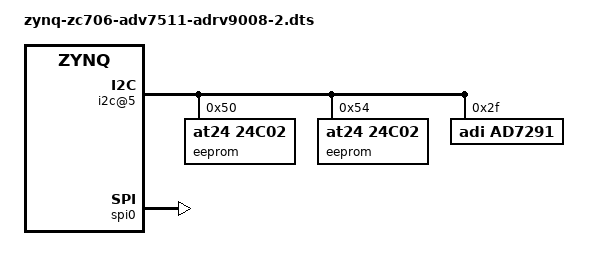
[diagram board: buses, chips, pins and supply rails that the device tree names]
// SPDX-License-Identifier: GPL-2.0
/*
 * Analog Devices ADRV9008-2
 * https://wiki.analog.com/resources/eval/user-guides/adrv9009
 * https://wiki.analog.com/resources/tools-software/linux-drivers/iio-transceiver/adrv9009
 * https://wiki.analog.com/resources/tools-software/linux-software/adrv9009_advanced_plugin
 *
 * hdl_project: <adrv9009/zc706>
 * board_revision: <>
 *
 * Copyright (C) 2019 Analog Devices Inc.
 */
/dts-v1/;

#include "zynq-zc706.dtsi"
#include "zynq-zc706-adv7511.dtsi"

&i2c_mux {
	i2c@5 { /* HPC IIC */
		#address-cells = <1>;
		#size-cells = <0>;
		reg = <5>;

		eeprom@50 {
			compatible = "at24,24c02";
			reg = <0x50>;
		};

		eeprom@54 {
			compatible = "at24,24c02";
			reg = <0x54>;
		};

		ad7291@2f {
			compatible = "adi,ad7291";
			reg = <0x2f>;
		};
	};
};

&fpga_axi {
	rx_obs_dma: dma@7c440000 {
		compatible = "adi,axi-dmac-1.00.a";
		reg = <0x7c440000 0x10000>;
		#dma-cells = <1>;
		#clock-cells = <0>;
		interrupts = <0 55 IRQ_TYPE_LEVEL_HIGH>;
		clocks = <&clkc 16>;

		adi,channels {
			#size-cells = <0>;
			#address-cells = <1>;

			dma-channel@0 {
				reg = <0>;
				adi,source-bus-width = <128>;
				adi,source-bus-type = <2>;
				adi,destination-bus-width = <64>;
				adi,destination-bus-type = <0>;
			};
		};
	};
	tx_dma: dma@7c420000  {
		compatible = "adi,axi-dmac-1.00.a";
		reg = <0x7c420000 0x10000>;
		#dma-cells = <1>;
		#clock-cells = <0>;
		interrupts = <0 56 IRQ_TYPE_LEVEL_HIGH>;
		clocks = <&clkc 16>;

		adi,channels {
			#size-cells = <0>;
			#address-cells = <1>;

			dma-channel@0 {
				reg = <0>;
				adi,source-bus-width = <128>;
				adi,source-bus-type = <0>;
				adi,destination-bus-width = <128>;
				adi,destination-bus-type = <2>;
			};
		};
	};

	axi_adrv9009_core_rx_obs: axi-adrv9009-rx-obs-hpc@44a08000 {
		compatible = "adi,axi-adrv9009-obs-1.0";
		reg = <0x44a08000 0x1000>;
		dmas = <&rx_obs_dma 0>;
		dma-names = "rx";
		clocks = <&trx0_adrv9009 1>;
		clock-names = "sampl_clk";
	};

	axi_adrv9009_core_tx: axi-adrv9009-tx-hpc@44a04000 {
		compatible = "adi,axi-adrv9009-tx-1.0";
		reg = <0x44a04000 0x4000>;
		dmas = <&tx_dma 0>;
		dma-names = "tx";
		clocks = <&trx0_adrv9009 2>;
		clock-names = "sampl_clk";
		spibus-connected = <&trx0_adrv9009>;
		//adi,axi-pl-fifo-enable;
	};

	axi_adrv9009_tx_jesd: axi-jesd204-tx@44a90000 {
		compatible = "adi,axi-jesd204-tx-1.0";
		reg = <0x44a90000 0x1000>;

		interrupts = <0 53 IRQ_TYPE_LEVEL_HIGH>;

		clocks = <&clkc 16>, <&axi_tx_clkgen>, <&axi_adrv9009_adxcvr_tx 0>;
		clock-names = "s_axi_aclk", "device_clk", "lane_clk";

		#clock-cells = <0>;
		clock-output-names = "jesd_tx_lane_clk";

		adi,octets-per-frame = <2>;
		adi,frames-per-multiframe = <32>;
		adi,converter-resolution = <14>;
		adi,bits-per-sample = <16>;
		adi,converters-per-device = <4>;
		adi,control-bits-per-sample = <2>;
	};

	axi_adrv9009_rx_os_jesd: axi-jesd204-rx-os@44ab0000 {
		compatible = "adi,axi-jesd204-rx-1.0";
		reg = <0x44ab0000 0x1000>;

		interrupts = <0 52 IRQ_TYPE_LEVEL_HIGH>;

		clocks = <&clkc 16>, <&axi_rx_os_clkgen>, <&axi_adrv9009_adxcvr_rx_os 0>;
		clock-names = "s_axi_aclk", "device_clk", "lane_clk";

		#clock-cells = <0>;
		clock-output-names = "jesd_rx_os_lane_clk";

		adi,octets-per-frame = <4>;
		adi,frames-per-multiframe = <32>;
	};

	axi_tx_clkgen: axi-clkgen@43c00000  {
		compatible = "adi,axi-clkgen-2.00.a";
		reg = <0x43c00000 0x10000>;
		#clock-cells = <0>;
		clocks = <&clk0_ad9528 1>;
		clock-output-names = "axi_tx_clkgen";
	};

	axi_rx_os_clkgen: axi-clkgen@43c20000  {
		compatible = "adi,axi-clkgen-2.00.a";
		reg = <0x43c20000 0x10000>;
		#clock-cells = <0>;
		clocks = <&clk0_ad9528 1>;
		clock-output-names = "axi_rx_os_clkgen";
	};

	axi_adrv9009_adxcvr_rx_os: axi-adxcvr-rx-os@44a50000 {
		#address-cells = <1>;
		#size-cells = <0>;
		compatible = "adi,axi-adxcvr-1.0";
		reg = <0x44a50000 0x1000>;

		clocks = <&clk0_ad9528 1>, <&axi_rx_os_clkgen>;
		clock-names = "conv", "div40";

		#clock-cells = <1>;
		clock-output-names = "rx_os_gt_clk", "rx_os_out_clk";

		adi,sys-clk-select = <0>;
		adi,out-clk-select = <3>;
		adi,use-lpm-enable;
		adi,use-cpll-enable;
	};

	axi_adrv9009_adxcvr_tx: axi-adxcvr-tx@44a80000 {
		#address-cells = <1>;
		#size-cells = <0>;
		compatible = "adi,axi-adxcvr-1.0";
		reg = <0x44a80000 0x1000>;

		clocks = <&clk0_ad9528 1>, <&axi_tx_clkgen>;
		clock-names = "conv", "div40";

		#clock-cells = <1>;
		clock-output-names = "tx_gt_clk", "tx_out_clk";

		adi,sys-clk-select = <3>;
		adi,out-clk-select = <3>;
	};
};

&spi0 {
	status = "okay";
};

#define fmc_spi spi0

#include "adi-adrv9009.dtsi"

// adrv9009_dac_fifo_bypass_s 60
// ad9528_reset_b,       // 59
// ad9528_sysref_req,    // 58
// adrv9009_tx1_enable,    // 57
// adrv9009_tx2_enable,    // 56
// adrv9009_rx1_enable,    // 55
// adrv9009_rx2_enable,    // 54
// adrv9009_test,          // 53
// adrv9009_reset_b,       // 52
// adrv9009_gpint,         // 51
// adrv9009_gpio_00,       // 50
// adrv9009_gpio_01,       // 49
// adrv9009_gpio_02,       // 48
// adrv9009_gpio_03,       // 47
// adrv9009_gpio_04,       // 46
// adrv9009_gpio_05,       // 45
// adrv9009_gpio_06,       // 44
// adrv9009_gpio_07,       // 43
// adrv9009_gpio_15,       // 42
// adrv9009_gpio_08,       // 41
// adrv9009_gpio_09,       // 40
// adrv9009_gpio_10,       // 39
// adrv9009_gpio_11,       // 38
// adrv9009_gpio_12,       // 37
// adrv9009_gpio_14,       // 36
// adrv9009_gpio_13,       // 35
// adrv9009_gpio_17,       // 34
// adrv9009_gpio_16,       // 33
// adrv9009_gpio_18}));    // 32 + 78

&trx0_adrv9009 {
	compatible = "adrv9008-2";

	clocks = <&axi_adrv9009_tx_jesd>, <&axi_adrv9009_rx_os_jesd>,
		<&clk0_ad9528 13>, <&clk0_ad9528 1>, <&clk0_ad9528 12>,
		<&clk0_ad9528 3>;
	clock-names = "jesd_tx_clk", "jesd_rx_os_clk",
		"dev_clk", "fmc_clk", "sysref_dev_clk", "sysref_fmc_clk";

	reset-gpios = <&gpio0 106 0>;
	test-gpios = <&gpio0 107 0>;
	sysref-req-gpios = <&gpio0 112 0>;
	tx2-enable-gpios = <&gpio0 110 0>;
	tx1-enable-gpios = <&gpio0 111 0>;
};

&clk0_ad9528 {
	reset-gpios = <&gpio0 113 0>;
};

&axi_adrv9009_core_tx {
	plddrbypass-gpios = <&gpio0 114 0>;
};
